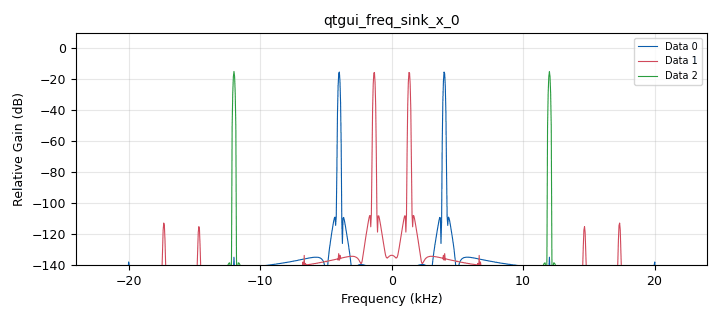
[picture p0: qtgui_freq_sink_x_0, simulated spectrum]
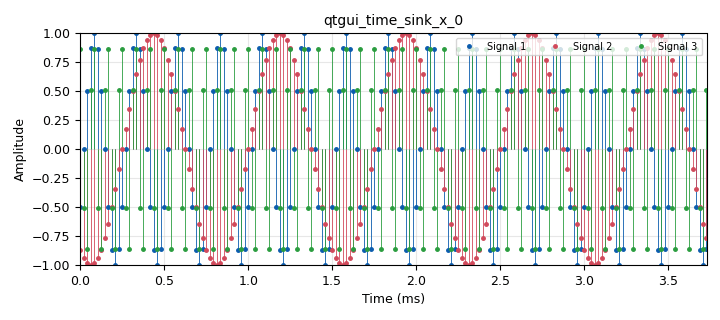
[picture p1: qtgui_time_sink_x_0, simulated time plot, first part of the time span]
options:
  parameters:
    generate_options: qt_gui
    id: LAB1_3_2170811
    output_language: python
    title: GEOVANI_ARENAS_ANDRES_CUEVAS_J1C
  states: {}

blocks:
- name: freq
  id: variable_qtgui_range
  parameters:
    label: frequency
    start: '1000'
    step: '1000'
    stop: '40000'
    value: '4000'
  states: {}
- name: samp_rate
  id: variable
  parameters:
    value: '48000'
  states: {}
- name: analog_sig_source_x_0
  id: analog_sig_source_x
  parameters:
    amp: '1'
    freq: freq
    offset: '0'
    phase: '0'
    samp_rate: samp_rate
    type: float
    waveform: analog.GR_COS_WAVE
  states: {}
- name: analog_sig_source_x_0_0
  id: analog_sig_source_x
  parameters:
    amp: '1'
    freq: freq
    offset: '0'
    phase: '0'
    samp_rate: samp_rate
    type: float
    waveform: analog.GR_COS_WAVE
  states: {}
- name: analog_sig_source_x_0_1
  id: analog_sig_source_x
  parameters:
    amp: '1'
    freq: freq
    offset: '0'
    phase: '0'
    samp_rate: samp_rate
    type: float
    waveform: analog.GR_COS_WAVE
  states: {}
- name: blocks_throttle_0
  id: blocks_throttle
  parameters:
    samples_per_second: samp_rate
    type: float
  states: {}
- name: qtgui_freq_sink_x_0
  id: qtgui_freq_sink_x
  parameters:
    bw: samp_rate
    fc: '0'
    fftsize: '1024'
    nconnections: '3'
    type: float
  states: {}
- name: qtgui_time_sink_x_0
  id: qtgui_time_sink_x
  parameters:
    nconnections: '3'
    size: '1024'
    srate: samp_rate
    stemplot: 'True'
    type: float
  states: {}
- name: rational_resampler_xxx_0_0
  id: rational_resampler_xxx
  parameters:
    decim: '1'
    interp: '1'
    type: fff
  states: {}
- name: rational_resampler_xxx_0_0_0
  id: rational_resampler_xxx
  parameters:
    decim: '1'
    interp: '3'
    type: fff
  states: {}
- name: rational_resampler_xxx_0_0_1
  id: rational_resampler_xxx
  parameters:
    decim: '3'
    interp: '1 '
    type: fff
  states: {}

connections:
- [analog_sig_source_x_0, '0', rational_resampler_xxx_0_0, '0']
- [analog_sig_source_x_0_0, '0', rational_resampler_xxx_0_0_0, '0']
- [analog_sig_source_x_0_1, '0', rational_resampler_xxx_0_0_1, '0']
- [blocks_throttle_0, '0', qtgui_freq_sink_x_0, '0']
- [blocks_throttle_0, '0', qtgui_time_sink_x_0, '0']
- [rational_resampler_xxx_0_0, '0', blocks_throttle_0, '0']
- [rational_resampler_xxx_0_0_0, '0', qtgui_freq_sink_x_0, '1']
- [rational_resampler_xxx_0_0_0, '0', qtgui_time_sink_x_0, '1']
- [rational_resampler_xxx_0_0_1, '0', qtgui_freq_sink_x_0, '2']
- [rational_resampler_xxx_0_0_1, '0', qtgui_time_sink_x_0, '2']

metadata:
  file_format: 1
